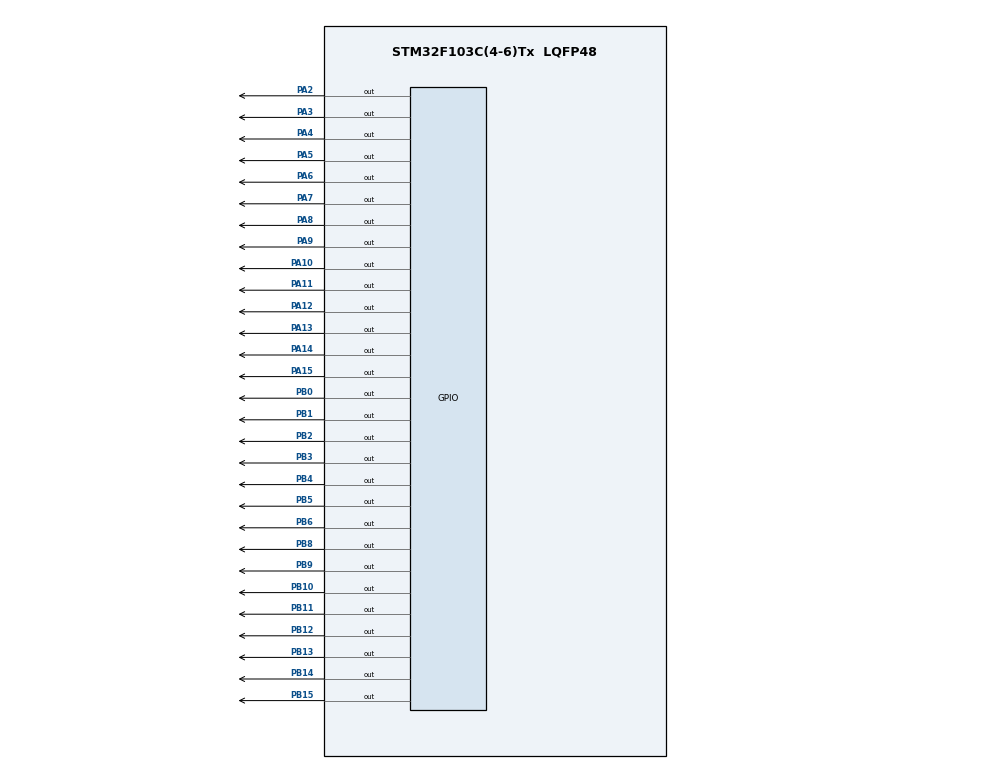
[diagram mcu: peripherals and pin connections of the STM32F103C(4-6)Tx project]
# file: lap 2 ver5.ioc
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Mcu.Family=STM32F1
Mcu.Name=STM32F103C(4-6)Tx
Mcu.Package=LQFP48
NVIC.PriorityGroup=NVIC_PRIORITYGROUP_4
NVIC.TIM2_IRQn=true\:0\:0\:false\:false\:true\:true\:true
PA10.Signal=GPIO_Output
PA11.Signal=GPIO_Output
PA12.Signal=GPIO_Output
PA13.Signal=GPIO_Output
PA14.Signal=GPIO_Output
PA15.Signal=GPIO_Output
PA2.Signal=GPIO_Output
PA3.Signal=GPIO_Output
PA4.Signal=GPIO_Output
PA5.Signal=GPIO_Output
PA6.Signal=GPIO_Output
PA7.Signal=GPIO_Output
PA8.Signal=GPIO_Output
PA9.Signal=GPIO_Output
PB0.Signal=GPIO_Output
PB1.Signal=GPIO_Output
PB10.Signal=GPIO_Output
PB11.Signal=GPIO_Output
PB12.Signal=GPIO_Output
PB13.Signal=GPIO_Output
PB14.Signal=GPIO_Output
PB15.Signal=GPIO_Output
PB2.Signal=GPIO_Output
PB3.Signal=GPIO_Output
PB4.Signal=GPIO_Output
PB5.Signal=GPIO_Output
PB6.Signal=GPIO_Output
PB8.Signal=GPIO_Output
PB9.Signal=GPIO_Output
ProjectManager.HeapSize=0x200
ProjectManager.StackSize=0x400
ProjectManager.TargetToolchain=STM32CubeIDE
RCC.APB1Freq_Value=8000000
RCC.APB2Freq_Value=8000000
TIM2.Period=9
TIM2.Prescaler=7999
VP_SYS_VS_ND.Mode=No_Debug
VP_TIM2_VS_ClockSourceINT.Mode=Internal
board=custom

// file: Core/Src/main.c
/* USER CODE BEGIN Header */
/**
  ******************************************************************************
  * @file           : main.c
  * @brief          : Main program body
  ******************************************************************************
  * @attention
  *
  * <h2><center>&copy; Copyright (c) 2021 STMicroelectronics.
  * All rights reserved.</center></h2>
  *
  * This software component is licensed by ST under BSD 3-Clause license,
  * the "License"; You may not use this file except in compliance with the
  * License. You may obtain a copy of the License at:
  *                        opensource.org/licenses/BSD-3-Clause
  *
  ******************************************************************************
  */
/* USER CODE END Header */
#include "main.h"

TIM_HandleTypeDef htim2;

void SystemClock_Config(void);
static void MX_GPIO_Init(void);
static void MX_TIM2_Init(void);

/* USER CODE BEGIN 0 */
void display7SEG(int num){
	switch(num){
	case(0):
			HAL_GPIO_WritePin(GPIOB, GPIO_PIN_0, RESET);
			HAL_GPIO_WritePin(GPIOB, GPIO_PIN_1, RESET);
			HAL_GPIO_WritePin(GPIOB, GPIO_PIN_2, RESET);
			HAL_GPIO_WritePin(GPIOB, GPIO_PIN_3, RESET);
			HAL_GPIO_WritePin(GPIOB, GPIO_PIN_4, RESET);
			HAL_GPIO_WritePin(GPIOB, GPIO_PIN_5, RESET);
			HAL_GPIO_WritePin(GPIOB, GPIO_PIN_6, SET);
			break;
	case(1):
			HAL_GPIO_WritePin(GPIOB, GPIO_PIN_0, SET);
			HAL_GPIO_WritePin(GPIOB, GPIO_PIN_1, RESET);
			HAL_GPIO_WritePin(GPIOB, GPIO_PIN_2, RESET);
			HAL_GPIO_WritePin(GPIOB, GPIO_PIN_3, SET);
			HAL_GPIO_WritePin(GPIOB, GPIO_PIN_4, SET);
			HAL_GPIO_WritePin(GPIOB, GPIO_PIN_5, SET);
			HAL_GPIO_WritePin(GPIOB, GPIO_PIN_6, SET);
			break;
	case(2):
			HAL_GPIO_WritePin(GPIOB, GPIO_PIN_0, RESET);
			HAL_GPIO_WritePin(GPIOB, GPIO_PIN_1, RESET);
			HAL_GPIO_WritePin(GPIOB, GPIO_PIN_2, SET);
			HAL_GPIO_WritePin(GPIOB, GPIO_PIN_3, RESET);
			HAL_GPIO_WritePin(GPIOB, GPIO_PIN_4, RESET);
			HAL_GPIO_WritePin(GPIOB, GPIO_PIN_5, SET);
			HAL_GPIO_WritePin(GPIOB, GPIO_PIN_6, RESET);
			break;
	case(3):
			HAL_GPIO_WritePin(GPIOB, GPIO_PIN_0, RESET);
			HAL_GPIO_WritePin(GPIOB, GPIO_PIN_1, RESET);
			HAL_GPIO_WritePin(GPIOB, GPIO_PIN_2, RESET);
			HAL_GPIO_WritePin(GPIOB, GPIO_PIN_3, RESET);
			HAL_GPIO_WritePin(GPIOB, GPIO_PIN_4, SET);
			HAL_GPIO_WritePin(GPIOB, GPIO_PIN_5, SET);
			HAL_GPIO_WritePin(GPIOB, GPIO_PIN_6, RESET);
			break;
	case(4):
			HAL_GPIO_WritePin(GPIOB, GPIO_PIN_0, SET);
			HAL_GPIO_WritePin(GPIOB, GPIO_PIN_1, RESET);
			HAL_GPIO_WritePin(GPIOB, GPIO_PIN_2, RESET);
			HAL_GPIO_WritePin(GPIOB, GPIO_PIN_3, SET);
			HAL_GPIO_WritePin(GPIOB, GPIO_PIN_4, SET);
			HAL_GPIO_WritePin(GPIOB, GPIO_PIN_5, RESET);
			HAL_GPIO_WritePin(GPIOB, GPIO_PIN_6, RESET);
			break;
	case(5):
			HAL_GPIO_WritePin(GPIOB, GPIO_PIN_0, RESET);
			HAL_GPIO_WritePin(GPIOB, GPIO_PIN_1, SET);
			HAL_GPIO_WritePin(GPIOB, GPIO_PIN_2, RESET);
			HAL_GPIO_WritePin(GPIOB, GPIO_PIN_3, RESET);
			HAL_GPIO_WritePin(GPIOB, GPIO_PIN_4, SET);
			HAL_GPIO_WritePin(GPIOB, GPIO_PIN_5, RESET);
			HAL_GPIO_WritePin(GPIOB, GPIO_PIN_6, RESET);
			break;
	case(6):
			HAL_GPIO_WritePin(GPIOB, GPIO_PIN_0, RESET);
			HAL_GPIO_WritePin(GPIOB, GPIO_PIN_1, SET);
			HAL_GPIO_WritePin(GPIOB, GPIO_PIN_2, RESET);
			HAL_GPIO_WritePin(GPIOB, GPIO_PIN_3, RESET);
			HAL_GPIO_WritePin(GPIOB, GPIO_PIN_4, RESET);
			HAL_GPIO_WritePin(GPIOB, GPIO_PIN_5, RESET);
			HAL_GPIO_WritePin(GPIOB, GPIO_PIN_6, RESET);
			break;
	case(7):
			HAL_GPIO_WritePin(GPIOB, GPIO_PIN_0, RESET);
			HAL_GPIO_WritePin(GPIOB, GPIO_PIN_1, RESET);
			HAL_GPIO_WritePin(GPIOB, GPIO_PIN_2, RESET);
			HAL_GPIO_WritePin(GPIOB, GPIO_PIN_3, SET);
			HAL_GPIO_WritePin(GPIOB, GPIO_PIN_4, SET);
			HAL_GPIO_WritePin(GPIOB, GPIO_PIN_5, SET);
			HAL_GPIO_WritePin(GPIOB, GPIO_PIN_6, SET);
			break;
	case(8):
			HAL_GPIO_WritePin(GPIOB, GPIO_PIN_0, RESET);
			HAL_GPIO_WritePin(GPIOB, GPIO_PIN_1, RESET);
			HAL_GPIO_WritePin(GPIOB, GPIO_PIN_2, RESET);
			HAL_GPIO_WritePin(GPIOB, GPIO_PIN_3, RESET);
			HAL_GPIO_WritePin(GPIOB, GPIO_PIN_4, RESET);
			HAL_GPIO_WritePin(GPIOB, GPIO_PIN_5, RESET);
			HAL_GPIO_WritePin(GPIOB, GPIO_PIN_6, RESET);
			break;
	case(9):
			HAL_GPIO_WritePin(GPIOB, GPIO_PIN_0, RESET);
			HAL_GPIO_WritePin(GPIOB, GPIO_PIN_1, RESET);
			HAL_GPIO_WritePin(GPIOB, GPIO_PIN_2, RESET);
			HAL_GPIO_WritePin(GPIOB, GPIO_PIN_3, RESET);
			HAL_GPIO_WritePin(GPIOB, GPIO_PIN_4, SET);
			HAL_GPIO_WritePin(GPIOB, GPIO_PIN_5, RESET);
			HAL_GPIO_WritePin(GPIOB, GPIO_PIN_6, RESET);
			break;
	default:
			HAL_GPIO_WritePin(GPIOB, GPIO_PIN_0, SET);
			HAL_GPIO_WritePin(GPIOB, GPIO_PIN_1, SET);
			HAL_GPIO_WritePin(GPIOB, GPIO_PIN_2, SET);
			HAL_GPIO_WritePin(GPIOB, GPIO_PIN_3, SET);
			HAL_GPIO_WritePin(GPIOB, GPIO_PIN_4, SET);
			HAL_GPIO_WritePin(GPIOB, GPIO_PIN_5, SET);
			HAL_GPIO_WritePin(GPIOB, GPIO_PIN_6, SET);
			break;
	}
}

int led_buffer[4] = {1,2,3,0};
void update7SEG(int index){
	int value = led_buffer[index];
	display7SEG(10);	// blank

	switch(index){
	case(0):	// first 7SEG on
			HAL_GPIO_WritePin(GPIOA, GPIO_PIN_6, RESET);
			HAL_GPIO_WritePin(GPIOA, GPIO_PIN_7, SET);
			HAL_GPIO_WritePin(GPIOA, GPIO_PIN_8, SET);
			HAL_GPIO_WritePin(GPIOA, GPIO_PIN_9, SET);
			break;
	case(1):	// second 7SEG on
			HAL_GPIO_WritePin(GPIOA, GPIO_PIN_6, SET);
			HAL_GPIO_WritePin(GPIOA, GPIO_PIN_7, RESET);
			HAL_GPIO_WritePin(GPIOA, GPIO_PIN_8, SET);
			HAL_GPIO_WritePin(GPIOA, GPIO_PIN_9, SET);
			break;
	case(2):	// third 7SEG on
			HAL_GPIO_WritePin(GPIOA, GPIO_PIN_6, SET);
			HAL_GPIO_WritePin(GPIOA, GPIO_PIN_7, SET);
			HAL_GPIO_WritePin(GPIOA, GPIO_PIN_8, RESET);
			HAL_GPIO_WritePin(GPIOA, GPIO_PIN_9, SET);
			break;
	case(3):	// last 7SEG on
			HAL_GPIO_WritePin(GPIOA, GPIO_PIN_6, SET);
			HAL_GPIO_WritePin(GPIOA, GPIO_PIN_7, SET);
			HAL_GPIO_WritePin(GPIOA, GPIO_PIN_8, SET);
			HAL_GPIO_WritePin(GPIOA, GPIO_PIN_9, RESET);
			break;
	default:
			HAL_GPIO_WritePin(GPIOA, GPIO_PIN_6, SET);
			HAL_GPIO_WritePin(GPIOA, GPIO_PIN_7, SET);
			HAL_GPIO_WritePin(GPIOA, GPIO_PIN_8, SET);
			HAL_GPIO_WritePin(GPIOA, GPIO_PIN_9, SET);
			break;
	}

	display7SEG(value);
}

// set begin time
int hour = 15, minute = 8, second = 50;
void updateClockBuffer(){
	led_buffer[0] = hour/10;
	led_buffer[1] = hour%10;

	led_buffer[2] = minute/10;
	led_buffer[3] = minute%10;
}

const int MAX_LED_MATRIX = 8;
int index_led_matrix = 0;
uint8_t matrix_led_buffer[8] = {0x00, 0x00, 0xfe, 0x11, 0x11, 0xfe, 0x00, 0x00};

void updateLEDMatrix(int index){	//COL scan
	uint8_t value = matrix_led_buffer[index];
	HAL_GPIO_WritePin(GPIOA, GPIO_PIN_2,  !((value>>0)&1));
	HAL_GPIO_WritePin(GPIOA, GPIO_PIN_3,  !((value>>1)&1));
	HAL_GPIO_WritePin(GPIOA, GPIO_PIN_10, !((value>>2)&1));
	HAL_GPIO_WritePin(GPIOA, GPIO_PIN_11, !((value>>3)&1));
	HAL_GPIO_WritePin(GPIOA, GPIO_PIN_12, !((value>>4)&1));
	HAL_GPIO_WritePin(GPIOA, GPIO_PIN_13, !((value>>5)&1));
	HAL_GPIO_WritePin(GPIOA, GPIO_PIN_14, !((value>>6)&1));
	HAL_GPIO_WritePin(GPIOA, GPIO_PIN_15, !((value>>7)&1));
}

int magic = 0;
void updateLEDMatrixBuffer(){
	switch(magic){
	case(0):
			matrix_led_buffer[0] = 0xfe;
			matrix_led_buffer[1] = 0x00;
			matrix_led_buffer[2] = 0x00;
			matrix_led_buffer[3] = 0x00;
			matrix_led_buffer[4] = 0x00;
			matrix_led_buffer[5] = 0x00;
			matrix_led_buffer[6] = 0x00;
			matrix_led_buffer[7] = 0x00;
			magic = 1;
			break;
	case(1):
			matrix_led_buffer[0] = 0x11;
			matrix_led_buffer[1] = 0xfe;
			matrix_led_buffer[2] = 0x00;
			matrix_led_buffer[3] = 0x00;
			matrix_led_buffer[4] = 0x00;
			matrix_led_buffer[5] = 0x00;
			matrix_led_buffer[6] = 0x00;
			matrix_led_buffer[7] = 0x00;
			magic = 2;
			break;
	case(2):
			matrix_led_buffer[0] = 0x11;
			matrix_led_buffer[1] = 0x11;
			matrix_led_buffer[2] = 0xfe;
			matrix_led_buffer[3] = 0x00;
			matrix_led_buffer[4] = 0x00;
			matrix_led_buffer[5] = 0x00;
			matrix_led_buffer[6] = 0x00;
			matrix_led_buffer[7] = 0x00;
			magic = 3;
			break;
	case(3):
			matrix_led_buffer[0] = 0xfe;
			matrix_led_buffer[1] = 0x11;
			matrix_led_buffer[2] = 0x11;
			matrix_led_buffer[3] = 0xfe;
			matrix_led_buffer[4] = 0x00;
			matrix_led_buffer[5] = 0x00;
			matrix_led_buffer[6] = 0x00;
			matrix_led_buffer[7] = 0x00;
			magic = 4;
			break;
	case(4):
			matrix_led_buffer[0] = 0x00;
			matrix_led_buffer[1] = 0xfe;
			matrix_led_buffer[2] = 0x11;
			matrix_led_buffer[3] = 0x11;
			matrix_led_buffer[4] = 0xfe;
			matrix_led_buffer[5] = 0x00;
			matrix_led_buffer[6] = 0x00;
			matrix_led_buffer[7] = 0x00;
			magic = 5;
			break;
	case(5):
			matrix_led_buffer[0] = 0x00;
			matrix_led_buffer[1] = 0x00;
			matrix_led_buffer[2] = 0xfe;
			matrix_led_buffer[3] = 0x11;
			matrix_led_buffer[4] = 0x11;
			matrix_led_buffer[5] = 0xfe;
			matrix_led_buffer[6] = 0x00;
			matrix_led_buffer[7] = 0x00;
			magic = 6;
			break;
	case(6):
			matrix_led_buffer[0] = 0x00;
			matrix_led_buffer[1] = 0x00;
			matrix_led_buffer[2] = 0x00;
			matrix_led_buffer[3] = 0xfe;
			matrix_led_buffer[4] = 0x11;
			matrix_led_buffer[5] = 0x11;
			matrix_led_buffer[6] = 0xfe;
			matrix_led_buffer[7] = 0x00;
			magic = 7;
			break;
	case(7):
			matrix_led_buffer[0] = 0x00;
			matrix_led_buffer[1] = 0x00;
			matrix_led_buffer[2] = 0x00;
			matrix_led_buffer[3] = 0x00;
			matrix_led_buffer[4] = 0xfe;
			matrix_led_buffer[5] = 0x11;
			matrix_led_buffer[6] = 0x11;
			matrix_led_buffer[7] = 0xfe;
			magic = 8;
			break;
	case(8):
			matrix_led_buffer[0] = 0x00;
			matrix_led_buffer[1] = 0x00;
			matrix_led_buffer[2] = 0x00;
			matrix_led_buffer[3] = 0x00;
			matrix_led_buffer[4] = 0x00;
			matrix_led_buffer[5] = 0xfe;
			matrix_led_buffer[6] = 0x11;
			matrix_led_buffer[7] = 0x11;
			magic = 9;
			break;
	case(9):
			matrix_led_buffer[0] = 0x00;
			matrix_led_buffer[1] = 0x00;
			matrix_led_buffer[2] = 0x00;
			matrix_led_buffer[3] = 0x00;
			matrix_led_buffer[4] = 0x00;
			matrix_led_buffer[5] = 0x00;
			matrix_led_buffer[6] = 0xfe;
			matrix_led_buffer[7] = 0x11;
			magic = 10;
			break;
	case(10):
			matrix_led_buffer[0] = 0x00;
			matrix_led_buffer[1] = 0x00;
			matrix_led_buffer[2] = 0x00;
			matrix_led_buffer[3] = 0x00;
			matrix_led_buffer[4] = 0x00;
			matrix_led_buffer[5] = 0x00;
			matrix_led_buffer[6] = 0x00;
			matrix_led_buffer[7] = 0xfe;
			magic = 11;
			break;
	case(11):
			matrix_led_buffer[0] = 0x00;
			matrix_led_buffer[1] = 0x00;
			matrix_led_buffer[2] = 0x00;
			matrix_led_buffer[3] = 0x00;
			matrix_led_buffer[4] = 0x00;
			matrix_led_buffer[5] = 0x00;
			matrix_led_buffer[6] = 0x00;
			matrix_led_buffer[7] = 0x00;
			magic = 0;
			break;
	}
}

/* USER CODE END 0 */
int toggle_flag = 0;
int matrixled_flag = 0;
int segled_flag = 0;
int index_led = 0;
const int MAX_LED = 4;
int main(void)
{

  /* MCU Configuration--------------------------------------------------------*/

  /* Reset of all peripherals, Initializes the Flash interface and the Systick. */
  HAL_Init();

  /* Configure the system clock */
  SystemClock_Config();

  /* Initialize all configured peripherals */
  MX_GPIO_Init();
  MX_TIM2_Init();
  /* USER CODE BEGIN 2 */
  HAL_TIM_Base_Start_IT(&htim2);
  /* USER CODE END 2 */

  /* Infinite loop */
  /* USER CODE BEGIN WHILE */
	HAL_GPIO_WritePin(GPIOA, GPIO_PIN_2,  SET);
	HAL_GPIO_WritePin(GPIOA, GPIO_PIN_3,  SET);
	HAL_GPIO_WritePin(GPIOA, GPIO_PIN_10, SET);
	HAL_GPIO_WritePin(GPIOA, GPIO_PIN_11, SET);
	HAL_GPIO_WritePin(GPIOA, GPIO_PIN_12, SET);
	HAL_GPIO_WritePin(GPIOA, GPIO_PIN_13, SET);
	HAL_GPIO_WritePin(GPIOA, GPIO_PIN_14, SET);
	HAL_GPIO_WritePin(GPIOA, GPIO_PIN_15, SET);

	HAL_GPIO_WritePin(GPIOB, GPIO_PIN_8,  SET);
	HAL_GPIO_WritePin(GPIOB, GPIO_PIN_9,  SET);
	HAL_GPIO_WritePin(GPIOB, GPIO_PIN_10, SET);
	HAL_GPIO_WritePin(GPIOB, GPIO_PIN_11, SET);
	HAL_GPIO_WritePin(GPIOB, GPIO_PIN_12, SET);
	HAL_GPIO_WritePin(GPIOB, GPIO_PIN_13, SET);
	HAL_GPIO_WritePin(GPIOB, GPIO_PIN_14, SET);
	HAL_GPIO_WritePin(GPIOB, GPIO_PIN_15, SET);

	//updateLEDMatrixBuffer();
  int state = 0;
  while (1)
  {
	  //second++;
	  // do this in callback function

	  if(second >= 30){	//60
		  second = 0;
		  minute++;
	  }
	  if(minute >= 30){	//60
		  minute = 0;
		  hour++;
	  }
	  if(hour >= 24){
		  hour = 0;
	  }
	  updateClockBuffer();

	  // single led (1s)
	  if(toggle_flag == 1){
		  HAL_GPIO_TogglePin(GPIOA, GPIO_PIN_4);
		  toggle_flag = 0;
	  }

	  // 7seg led (0.5s)
	  if(segled_flag == 1){
		  update7SEG(index_led++);
		  if(index_led == MAX_LED) index_led = 0;
		  segled_flag = 0;
	  }

	  // matrix led ROW
	  if(matrixled_flag == 1){
		  matrixled_flag = 0;
		  updateLEDMatrix(index_led_matrix++);
		  if(index_led_matrix == MAX_LED_MATRIX) index_led_matrix = 0;
		  // turn on enable
		  switch(state){
		  case(0):
					HAL_GPIO_WritePin(GPIOB, GPIO_PIN_8,  RESET);
					HAL_GPIO_WritePin(GPIOB, GPIO_PIN_9,  SET);
					HAL_GPIO_WritePin(GPIOB, GPIO_PIN_10, SET);
					HAL_GPIO_WritePin(GPIOB, GPIO_PIN_11, SET);
					HAL_GPIO_WritePin(GPIOB, GPIO_PIN_12, SET);
					HAL_GPIO_WritePin(GPIOB, GPIO_PIN_13, SET);
					HAL_GPIO_WritePin(GPIOB, GPIO_PIN_14, SET);
					HAL_GPIO_WritePin(GPIOB, GPIO_PIN_15, SET);
					state = 1;
					break;
		  case(1):
					HAL_GPIO_WritePin(GPIOB, GPIO_PIN_8,  SET);
					HAL_GPIO_WritePin(GPIOB, GPIO_PIN_9,  RESET);
					HAL_GPIO_WritePin(GPIOB, GPIO_PIN_10, SET);
					HAL_GPIO_WritePin(GPIOB, GPIO_PIN_11, SET);
					HAL_GPIO_WritePin(GPIOB, GPIO_PIN_12, SET);
					HAL_GPIO_WritePin(GPIOB, GPIO_PIN_13, SET);
					HAL_GPIO_WritePin(GPIOB, GPIO_PIN_14, SET);
					HAL_GPIO_WritePin(GPIOB, GPIO_PIN_15, SET);
					state = 2;
					break;
		  case(2):
					HAL_GPIO_WritePin(GPIOB, GPIO_PIN_8,  SET);
					HAL_GPIO_WritePin(GPIOB, GPIO_PIN_9,  SET);
					HAL_GPIO_WritePin(GPIOB, GPIO_PIN_10, RESET);
					HAL_GPIO_WritePin(GPIOB, GPIO_PIN_11, SET);
					HAL_GPIO_WritePin(GPIOB, GPIO_PIN_12, SET);
					HAL_GPIO_WritePin(GPIOB, GPIO_PIN_13, SET);
					HAL_GPIO_WritePin(GPIOB, GPIO_PIN_14, SET);
					HAL_GPIO_WritePin(GPIOB, GPIO_PIN_15, SET);
					state = 3;
					break;
		  case(3):
					HAL_GPIO_WritePin(GPIOB, GPIO_PIN_8,  SET);
					HAL_GPIO_WritePin(GPIOB, GPIO_PIN_9,  SET);
					HAL_GPIO_WritePin(GPIOB, GPIO_PIN_10, SET);
					HAL_GPIO_WritePin(GPIOB, GPIO_PIN_11, RESET);
					HAL_GPIO_WritePin(GPIOB, GPIO_PIN_12, SET);
					HAL_GPIO_WritePin(GPIOB, GPIO_PIN_13, SET);
					HAL_GPIO_WritePin(GPIOB, GPIO_PIN_14, SET);
					HAL_GPIO_WritePin(GPIOB, GPIO_PIN_15, SET);
					state = 4;
					break;
		  case(4):
					HAL_GPIO_WritePin(GPIOB, GPIO_PIN_8,  SET);
					HAL_GPIO_WritePin(GPIOB, GPIO_PIN_9,  SET);
					HAL_GPIO_WritePin(GPIOB, GPIO_PIN_10, SET);
					HAL_GPIO_WritePin(GPIOB, GPIO_PIN_11, SET);
					HAL_GPIO_WritePin(GPIOB, GPIO_PIN_12, RESET);
					HAL_GPIO_WritePin(GPIOB, GPIO_PIN_13, SET);
					HAL_GPIO_WritePin(GPIOB, GPIO_PIN_14, SET);
					HAL_GPIO_WritePin(GPIOB, GPIO_PIN_15, SET);
					state = 5;
					break;
		  case(5):
					HAL_GPIO_WritePin(GPIOB, GPIO_PIN_8,  SET);
					HAL_GPIO_WritePin(GPIOB, GPIO_PIN_9,  SET);
					HAL_GPIO_WritePin(GPIOB, GPIO_PIN_10, SET);
					HAL_GPIO_WritePin(GPIOB, GPIO_PIN_11, SET);
					HAL_GPIO_WritePin(GPIOB, GPIO_PIN_12, SET);
					HAL_GPIO_WritePin(GPIOB, GPIO_PIN_13, RESET);
					HAL_GPIO_WritePin(GPIOB, GPIO_PIN_14, SET);
					HAL_GPIO_WritePin(GPIOB, GPIO_PIN_15, SET);
					state = 6;
					break;
		  case(6):
					HAL_GPIO_WritePin(GPIOB, GPIO_PIN_8,  SET);
					HAL_GPIO_WritePin(GPIOB, GPIO_PIN_9,  SET);
					HAL_GPIO_WritePin(GPIOB, GPIO_PIN_10, SET);
					HAL_GPIO_WritePin(GPIOB, GPIO_PIN_11, SET);
					HAL_GPIO_WritePin(GPIOB, GPIO_PIN_12, SET);
					HAL_GPIO_WritePin(GPIOB, GPIO_PIN_13, SET);
					HAL_GPIO_WritePin(GPIOB, GPIO_PIN_14, RESET);
					HAL_GPIO_WritePin(GPIOB, GPIO_PIN_15, SET);
					state = 7;
					break;
		  case(7):
					HAL_GPIO_WritePin(GPIOB, GPIO_PIN_8,  SET);
					HAL_GPIO_WritePin(GPIOB, GPIO_PIN_9,  SET);
					HAL_GPIO_WritePin(GPIOB, GPIO_PIN_10, SET);
					HAL_GPIO_WritePin(GPIOB, GPIO_PIN_11, SET);
					HAL_GPIO_WritePin(GPIOB, GPIO_PIN_12, SET);
					HAL_GPIO_WritePin(GPIOB, GPIO_PIN_13, SET);
					HAL_GPIO_WritePin(GPIOB, GPIO_PIN_14, SET);
					HAL_GPIO_WritePin(GPIOB, GPIO_PIN_15, RESET);
					state = 0;
					//updateLEDMatrixBuffer();
					break;
		  }

	  }
    /* USER CODE END WHILE */

  }
}

void SystemClock_Config(void)
{
  RCC_OscInitTypeDef RCC_OscInitStruct = {0};
  RCC_ClkInitTypeDef RCC_ClkInitStruct = {0};

  /** Initializes the RCC Oscillators according to the specified parameters
  * in the RCC_OscInitTypeDef structure.
  */
  RCC_OscInitStruct.OscillatorType = RCC_OSCILLATORTYPE_HSI;
  RCC_OscInitStruct.HSIState = RCC_HSI_ON;
  RCC_OscInitStruct.HSICalibrationValue = RCC_HSICALIBRATION_DEFAULT;
  RCC_OscInitStruct.PLL.PLLState = RCC_PLL_NONE;
  if (HAL_RCC_OscConfig(&RCC_OscInitStruct) != HAL_OK)
  {
    Error_Handler();
  }
  /** Initializes the CPU, AHB and APB buses clocks
  */
  RCC_ClkInitStruct.ClockType = RCC_CLOCKTYPE_HCLK|RCC_CLOCKTYPE_SYSCLK
                              |RCC_CLOCKTYPE_PCLK1|RCC_CLOCKTYPE_PCLK2;
  RCC_ClkInitStruct.SYSCLKSource = RCC_SYSCLKSOURCE_HSI;
  RCC_ClkInitStruct.AHBCLKDivider = RCC_SYSCLK_DIV1;
  RCC_ClkInitStruct.APB1CLKDivider = RCC_HCLK_DIV1;
  RCC_ClkInitStruct.APB2CLKDivider = RCC_HCLK_DIV1;

  if (HAL_RCC_ClockConfig(&RCC_ClkInitStruct, FLASH_LATENCY_0) != HAL_OK)
  {
    Error_Handler();
  }
}

static void MX_TIM2_Init(void)
{

  TIM_ClockConfigTypeDef sClockSourceConfig = {0};
  TIM_MasterConfigTypeDef sMasterConfig = {0};

  htim2.Instance = TIM2;
  htim2.Init.Prescaler = 7999;
  htim2.Init.CounterMode = TIM_COUNTERMODE_UP;
  htim2.Init.Period = 9;
  htim2.Init.ClockDivision = TIM_CLOCKDIVISION_DIV1;
  htim2.Init.AutoReloadPreload = TIM_AUTORELOAD_PRELOAD_DISABLE;
  if (HAL_TIM_Base_Init(&htim2) != HAL_OK)
  {
    Error_Handler();
  }
  sClockSourceConfig.ClockSource = TIM_CLOCKSOURCE_INTERNAL;
  if (HAL_TIM_ConfigClockSource(&htim2, &sClockSourceConfig) != HAL_OK)
  {
    Error_Handler();
  }
  sMasterConfig.MasterOutputTrigger = TIM_TRGO_RESET;
  sMasterConfig.MasterSlaveMode = TIM_MASTERSLAVEMODE_DISABLE;
  if (HAL_TIMEx_MasterConfigSynchronization(&htim2, &sMasterConfig) != HAL_OK)
  {
    Error_Handler();
  }

}

static void MX_GPIO_Init(void)
{
  GPIO_InitTypeDef GPIO_InitStruct = {0};

  /* GPIO Ports Clock Enable */
  __HAL_RCC_GPIOA_CLK_ENABLE();
  __HAL_RCC_GPIOB_CLK_ENABLE();

  /*Configure GPIO pin Output Level */
  HAL_GPIO_WritePin(GPIOA, GPIO_PIN_2|GPIO_PIN_3|GPIO_PIN_4|GPIO_PIN_5
                          |GPIO_PIN_6|GPIO_PIN_7|GPIO_PIN_8|GPIO_PIN_9
                          |GPIO_PIN_10|GPIO_PIN_11|GPIO_PIN_12|GPIO_PIN_13
                          |GPIO_PIN_14|GPIO_PIN_15, GPIO_PIN_RESET);

  /*Configure GPIO pin Output Level */
  HAL_GPIO_WritePin(GPIOB, GPIO_PIN_0|GPIO_PIN_1|GPIO_PIN_2|GPIO_PIN_10
                          |GPIO_PIN_11|GPIO_PIN_12|GPIO_PIN_13|GPIO_PIN_14
                          |GPIO_PIN_15|GPIO_PIN_3|GPIO_PIN_4|GPIO_PIN_5
                          |GPIO_PIN_6|GPIO_PIN_8|GPIO_PIN_9, GPIO_PIN_RESET);

  /*Configure GPIO pins : PA2 PA3 PA4 PA5
                           PA6 PA7 PA8 PA9
                           PA10 PA11 PA12 PA13
                           PA14 PA15 */
  GPIO_InitStruct.Pin = GPIO_PIN_2|GPIO_PIN_3|GPIO_PIN_4|GPIO_PIN_5
                          |GPIO_PIN_6|GPIO_PIN_7|GPIO_PIN_8|GPIO_PIN_9
                          |GPIO_PIN_10|GPIO_PIN_11|GPIO_PIN_12|GPIO_PIN_13
                          |GPIO_PIN_14|GPIO_PIN_15;
  GPIO_InitStruct.Mode = GPIO_MODE_OUTPUT_PP;
  GPIO_InitStruct.Pull = GPIO_NOPULL;
  GPIO_InitStruct.Speed = GPIO_SPEED_FREQ_LOW;
  HAL_GPIO_Init(GPIOA, &GPIO_InitStruct);

  /*Configure GPIO pins : PB0 PB1 PB2 PB10
                           PB11 PB12 PB13 PB14
                           PB15 PB3 PB4 PB5
                           PB6 PB8 PB9 */
  GPIO_InitStruct.Pin = GPIO_PIN_0|GPIO_PIN_1|GPIO_PIN_2|GPIO_PIN_10
                          |GPIO_PIN_11|GPIO_PIN_12|GPIO_PIN_13|GPIO_PIN_14
                          |GPIO_PIN_15|GPIO_PIN_3|GPIO_PIN_4|GPIO_PIN_5
                          |GPIO_PIN_6|GPIO_PIN_8|GPIO_PIN_9;
  GPIO_InitStruct.Mode = GPIO_MODE_OUTPUT_PP;
  GPIO_InitStruct.Pull = GPIO_NOPULL;
  GPIO_InitStruct.Speed = GPIO_SPEED_FREQ_LOW;
  HAL_GPIO_Init(GPIOB, &GPIO_InitStruct);

}

/* USER CODE BEGIN 4 */
int matrix_led_counter = 0;
int sec_counter = 0;
int counter = 0;
void HAL_TIM_PeriodElapsedCallback(TIM_HandleTypeDef * htim){
	if(counter >= 50){
		counter = 0;
		segled_flag = 1;
	}
	counter ++;

	if(sec_counter >= 100){
		sec_counter = 0;
		second ++;
		toggle_flag = 1;
	}
	sec_counter ++;

	if(matrix_led_counter >= 15){ //5
		matrix_led_counter = 0;
		matrixled_flag = 1;
	}
	matrix_led_counter ++;
}
/* USER CODE END 4 */

void Error_Handler(void)
{
  __disable_irq();
  while (1)
  {
  }
}

/************************ (C) COPYRIGHT STMicroelectronics *****END OF FILE****/
